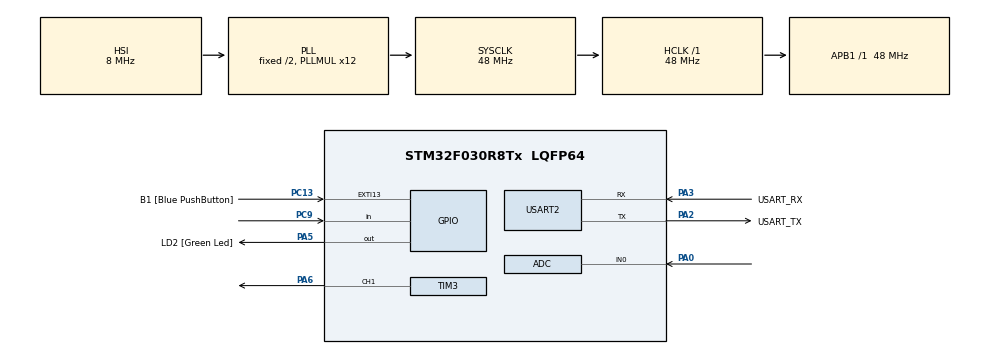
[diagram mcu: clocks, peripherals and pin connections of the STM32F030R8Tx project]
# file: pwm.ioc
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ADC.ContinuousConvMode=ENABLE
Mcu.Family=STM32F0
Mcu.Name=STM32F030R8Tx
Mcu.Package=LQFP64
PA0.Mode=IN0
PA0.Signal=ADC_IN0
PA13.GPIO_Label=TMS
PA13.Mode=Serial_Wire
PA13.Signal=SYS_SWDIO
PA14.GPIO_Label=TCK
PA14.Mode=Serial_Wire
PA14.Signal=SYS_SWCLK
PA2.GPIO_Label=USART_TX
PA2.GPIO_Mode=GPIO_MODE_AF_PP
PA2.GPIO_PuPd=GPIO_NOPULL
PA2.GPIO_Speed=GPIO_SPEED_FREQ_LOW
PA2.Mode=Asynchronous
PA2.Signal=USART2_TX
PA3.GPIO_Label=USART_RX
PA3.GPIO_Mode=GPIO_MODE_AF_PP
PA3.GPIO_PuPd=GPIO_NOPULL
PA3.GPIO_Speed=GPIO_SPEED_FREQ_LOW
PA3.Mode=Asynchronous
PA3.Signal=USART2_RX
PA5.GPIO_Label=LD2 [Green Led]
PA5.GPIO_Mode=GPIO_MODE_OUTPUT_PP
PA5.GPIO_PuPd=GPIO_NOPULL
PA5.GPIO_Speed=GPIO_SPEED_FREQ_LOW
PA5.Signal=GPIO_Output
PA6.Signal=S_TIM3_CH1
PC13.GPIO_Label=B1 [Blue PushButton]
PC13.GPIO_ModeDefaultEXTI=GPIO_MODE_IT_FALLING
PC13.Signal=GPXTI13
PC14-OSC32_IN.Mode=LSE-External-Oscillator
PC14-OSC32_IN.Signal=RCC_OSC32_IN
PC15-OSC32_OUT.Mode=LSE-External-Oscillator
PC15-OSC32_OUT.Signal=RCC_OSC32_OUT
PC9.GPIO_PuPd=GPIO_NOPULL
PC9.Signal=GPIO_Input
PF0-OSC_IN.Mode=HSE-External-Clock-Source
PF0-OSC_IN.Signal=RCC_OSC_IN
PF1-OSC_OUT.Signal=RCC_OSC_OUT
ProjectManager.HeapSize=0x200
ProjectManager.StackSize=0x400
ProjectManager.TargetToolchain=STM32CubeIDE
RCC.AHBFreq_Value=48000000
RCC.APB1Freq_Value=48000000
RCC.APB1TimFreq_Value=48000000
RCC.HCLKFreq_Value=48000000
RCC.PLLMUL=RCC_PLL_MUL12
RCC.SYSCLKFreq_VALUE=48000000
RCC.SYSCLKSource=RCC_SYSCLKSOURCE_PLLCLK
SH.S_TIM3_CH1.0=TIM3_CH1,PWM Generation1 CH1
TIM3.Channel-PWM\ Generation1\ CH1=TIM_CHANNEL_1
TIM3.Period=255
TIM3.Prescaler=187
USART2.VirtualMode-Asynchronous=VM_ASYNC
board=NUCLEO-F030R8

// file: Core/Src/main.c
/* USER CODE BEGIN Header */
/**
  ******************************************************************************
  * @file           : main.c
  * @brief          : Main program body
  ******************************************************************************
  * @attention
  *
  * Copyright (c) 2024 STMicroelectronics.
  * All rights reserved.
  *
  * This software is licensed under terms that can be found in the LICENSE file
  * in the root directory of this software component.
  * If no LICENSE file comes with this software, it is provided AS-IS.
  *
  ******************************************************************************
  */
/* USER CODE END Header */
#include "main.h"

/* USER CODE BEGIN Includes */
#include <stdio.h>

/* USER CODE END Includes */

ADC_HandleTypeDef hadc;

TIM_HandleTypeDef htim3;

UART_HandleTypeDef huart2;

void SystemClock_Config(void);
static void MX_GPIO_Init(void);
static void MX_USART2_UART_Init(void);
static void MX_TIM3_Init(void);
static void MX_ADC_Init(void);

/* USER CODE BEGIN 0 */
int _write(int file, char *ptr, int len) {
    HAL_UART_Transmit(&huart2, (uint8_t*)ptr, len, HAL_MAX_DELAY);
    return len;
}
long map_custom(long x, long in_min, long in_max, long out_min, long out_max) {
  // Vérifie que x est dans la plage d'entrée spécifiée
  if (x < in_min) {
    x = in_min;
  } else if (x > in_max) {
    x = in_max;
  }

  // Calcule la valeur mappée
  return (x - in_min) * (out_max - out_min) / (in_max - in_min) + out_min;
}

/* USER CODE END 0 */

int main(void)
{

  /* MCU Configuration--------------------------------------------------------*/

  /* Reset of all peripherals, Initializes the Flash interface and the Systick. */
  HAL_Init();

  /* Configure the system clock */
  SystemClock_Config();

  /* Initialize all configured peripherals */
  MX_GPIO_Init();
  MX_USART2_UART_Init();
  MX_TIM3_Init();
  MX_ADC_Init();
  /* USER CODE BEGIN 2 */
  HAL_TIM_PWM_Start(&htim3, TIM_CHANNEL_1);
  HAL_ADC_Start(&hadc);
  /* USER CODE END 2 */

  /* Infinite loop */
  /* USER CODE BEGIN WHILE */
  uint16_t valPotentiomter  ;
  while (1)
  {
    /* USER CODE END WHILE */

    /* USER CODE BEGIN 3 */
	  HAL_ADC_PollForConversion(&hadc, 1000);
	  valPotentiomter = HAL_ADC_GetValue(&hadc) ;
	  printf("QG \n"   );
	  printf("q %d \n", valPotentiomter);
//	  for (int i = 0; i<255; i++){
//		  __HAL_TIM_SET_COMPARE(&htim3, TIM_CHANNEL_1, i);
//		  HAL_Delay(5);
//	  }

	  int valCouleur = map_custom(valPotentiomter, 0, 4043, 0, 255) ;
	  __HAL_TIM_SET_COMPARE(&htim3, TIM_CHANNEL_1, valCouleur);
	  HAL_Delay(5);

//	  for (int i = 255; i<0; i--){
//		  __HAL_TIM_SET_COMPARE(&htim3, TIM_CHANNEL_1, i);
//		  HAL_Delay(5);
//	  }
  }
  /* USER CODE END 3 */
}

void SystemClock_Config(void)
{
  RCC_OscInitTypeDef RCC_OscInitStruct = {0};
  RCC_ClkInitTypeDef RCC_ClkInitStruct = {0};

  /** Initializes the RCC Oscillators according to the specified parameters
  * in the RCC_OscInitTypeDef structure.
  */
  RCC_OscInitStruct.OscillatorType = RCC_OSCILLATORTYPE_HSI|RCC_OSCILLATORTYPE_HSI14;
  RCC_OscInitStruct.HSIState = RCC_HSI_ON;
  RCC_OscInitStruct.HSI14State = RCC_HSI14_ON;
  RCC_OscInitStruct.HSICalibrationValue = RCC_HSICALIBRATION_DEFAULT;
  RCC_OscInitStruct.HSI14CalibrationValue = 16;
  RCC_OscInitStruct.PLL.PLLState = RCC_PLL_ON;
  RCC_OscInitStruct.PLL.PLLSource = RCC_PLLSOURCE_HSI;
  RCC_OscInitStruct.PLL.PLLMUL = RCC_PLL_MUL12;
  RCC_OscInitStruct.PLL.PREDIV = RCC_PREDIV_DIV1;
  if (HAL_RCC_OscConfig(&RCC_OscInitStruct) != HAL_OK)
  {
    Error_Handler();
  }

  /** Initializes the CPU, AHB and APB buses clocks
  */
  RCC_ClkInitStruct.ClockType = RCC_CLOCKTYPE_HCLK|RCC_CLOCKTYPE_SYSCLK
                              |RCC_CLOCKTYPE_PCLK1;
  RCC_ClkInitStruct.SYSCLKSource = RCC_SYSCLKSOURCE_PLLCLK;
  RCC_ClkInitStruct.AHBCLKDivider = RCC_SYSCLK_DIV1;
  RCC_ClkInitStruct.APB1CLKDivider = RCC_HCLK_DIV1;

  if (HAL_RCC_ClockConfig(&RCC_ClkInitStruct, FLASH_LATENCY_1) != HAL_OK)
  {
    Error_Handler();
  }
}

static void MX_ADC_Init(void)
{

  ADC_ChannelConfTypeDef sConfig = {0};

  /** Configure the global features of the ADC (Clock, Resolution, Data Alignment and number of conversion)
  */
  hadc.Instance = ADC1;
  hadc.Init.ClockPrescaler = ADC_CLOCK_ASYNC_DIV1;
  hadc.Init.Resolution = ADC_RESOLUTION_12B;
  hadc.Init.DataAlign = ADC_DATAALIGN_RIGHT;
  hadc.Init.ScanConvMode = ADC_SCAN_DIRECTION_FORWARD;
  hadc.Init.EOCSelection = ADC_EOC_SINGLE_CONV;
  hadc.Init.LowPowerAutoWait = DISABLE;
  hadc.Init.LowPowerAutoPowerOff = DISABLE;
  hadc.Init.ContinuousConvMode = ENABLE;
  hadc.Init.DiscontinuousConvMode = DISABLE;
  hadc.Init.ExternalTrigConv = ADC_SOFTWARE_START;
  hadc.Init.ExternalTrigConvEdge = ADC_EXTERNALTRIGCONVEDGE_NONE;
  hadc.Init.DMAContinuousRequests = DISABLE;
  hadc.Init.Overrun = ADC_OVR_DATA_PRESERVED;
  if (HAL_ADC_Init(&hadc) != HAL_OK)
  {
    Error_Handler();
  }

  /** Configure for the selected ADC regular channel to be converted.
  */
  sConfig.Channel = ADC_CHANNEL_0;
  sConfig.Rank = ADC_RANK_CHANNEL_NUMBER;
  sConfig.SamplingTime = ADC_SAMPLETIME_1CYCLE_5;
  if (HAL_ADC_ConfigChannel(&hadc, &sConfig) != HAL_OK)
  {
    Error_Handler();
  }

}

static void MX_TIM3_Init(void)
{

  TIM_MasterConfigTypeDef sMasterConfig = {0};
  TIM_OC_InitTypeDef sConfigOC = {0};

  htim3.Instance = TIM3;
  htim3.Init.Prescaler = 187;
  htim3.Init.CounterMode = TIM_COUNTERMODE_UP;
  htim3.Init.Period = 255;
  htim3.Init.ClockDivision = TIM_CLOCKDIVISION_DIV1;
  htim3.Init.AutoReloadPreload = TIM_AUTORELOAD_PRELOAD_DISABLE;
  if (HAL_TIM_PWM_Init(&htim3) != HAL_OK)
  {
    Error_Handler();
  }
  sMasterConfig.MasterOutputTrigger = TIM_TRGO_RESET;
  sMasterConfig.MasterSlaveMode = TIM_MASTERSLAVEMODE_DISABLE;
  if (HAL_TIMEx_MasterConfigSynchronization(&htim3, &sMasterConfig) != HAL_OK)
  {
    Error_Handler();
  }
  sConfigOC.OCMode = TIM_OCMODE_PWM1;
  sConfigOC.Pulse = 0;
  sConfigOC.OCPolarity = TIM_OCPOLARITY_HIGH;
  sConfigOC.OCFastMode = TIM_OCFAST_DISABLE;
  if (HAL_TIM_PWM_ConfigChannel(&htim3, &sConfigOC, TIM_CHANNEL_1) != HAL_OK)
  {
    Error_Handler();
  }
  HAL_TIM_MspPostInit(&htim3);

}

static void MX_USART2_UART_Init(void)
{

  huart2.Instance = USART2;
  huart2.Init.BaudRate = 115200;
  huart2.Init.WordLength = UART_WORDLENGTH_8B;
  huart2.Init.StopBits = UART_STOPBITS_1;
  huart2.Init.Parity = UART_PARITY_NONE;
  huart2.Init.Mode = UART_MODE_TX_RX;
  huart2.Init.HwFlowCtl = UART_HWCONTROL_NONE;
  huart2.Init.OverSampling = UART_OVERSAMPLING_16;
  huart2.Init.OneBitSampling = UART_ONE_BIT_SAMPLE_DISABLE;
  huart2.AdvancedInit.AdvFeatureInit = UART_ADVFEATURE_NO_INIT;
  if (HAL_UART_Init(&huart2) != HAL_OK)
  {
    Error_Handler();
  }

}

static void MX_GPIO_Init(void)
{
  GPIO_InitTypeDef GPIO_InitStruct = {0};

  /* GPIO Ports Clock Enable */
  __HAL_RCC_GPIOC_CLK_ENABLE();
  __HAL_RCC_GPIOF_CLK_ENABLE();
  __HAL_RCC_GPIOA_CLK_ENABLE();

  /*Configure GPIO pin Output Level */
  HAL_GPIO_WritePin(LD2_GPIO_Port, LD2_Pin, GPIO_PIN_RESET);

  /*Configure GPIO pin : B1_Pin */
  GPIO_InitStruct.Pin = B1_Pin;
  GPIO_InitStruct.Mode = GPIO_MODE_IT_FALLING;
  GPIO_InitStruct.Pull = GPIO_NOPULL;
  HAL_GPIO_Init(B1_GPIO_Port, &GPIO_InitStruct);

  /*Configure GPIO pin : LD2_Pin */
  GPIO_InitStruct.Pin = LD2_Pin;
  GPIO_InitStruct.Mode = GPIO_MODE_OUTPUT_PP;
  GPIO_InitStruct.Pull = GPIO_NOPULL;
  GPIO_InitStruct.Speed = GPIO_SPEED_FREQ_LOW;
  HAL_GPIO_Init(LD2_GPIO_Port, &GPIO_InitStruct);

  /*Configure GPIO pin : PC9 */
  GPIO_InitStruct.Pin = GPIO_PIN_9;
  GPIO_InitStruct.Mode = GPIO_MODE_INPUT;
  GPIO_InitStruct.Pull = GPIO_NOPULL;
  HAL_GPIO_Init(GPIOC, &GPIO_InitStruct);

}

void Error_Handler(void)
{
  __disable_irq();
  while (1)
  {
  }
}
